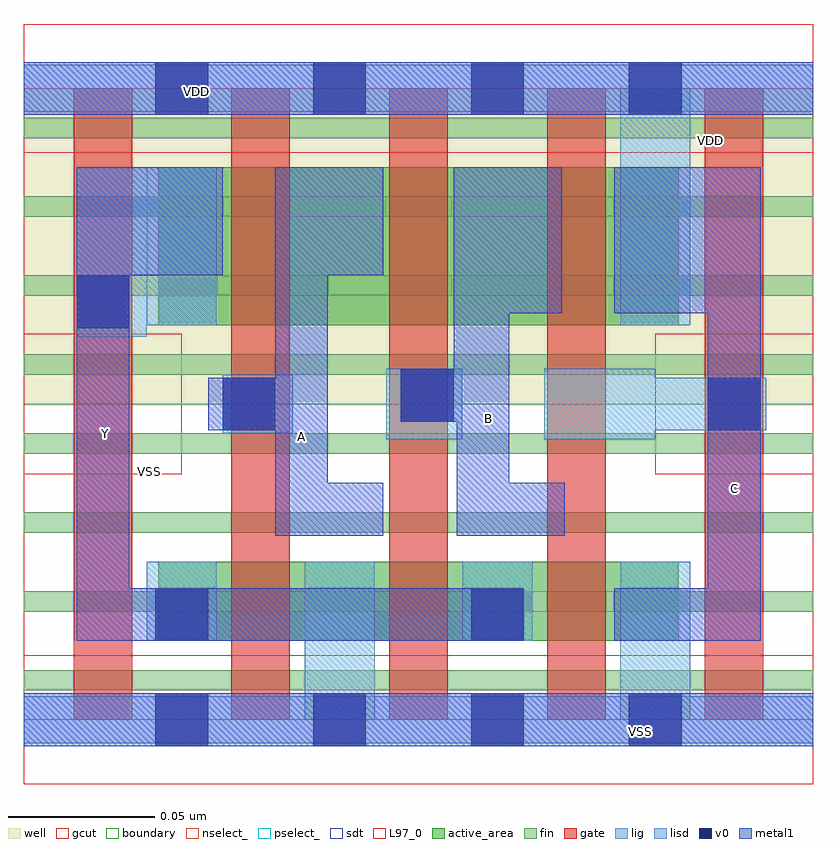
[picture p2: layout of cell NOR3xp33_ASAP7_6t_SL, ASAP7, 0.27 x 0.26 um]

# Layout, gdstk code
import gdstk
lib = gdstk.Library(unit=1e-6, precision=2.5e-10)
def R(c, l, rs):  # rectangles x0, y0, x1, y1
    for r in rs: c.add(gdstk.rectangle(r[:2], r[2:], *l))
def A(c, l, x, y, w, h, nx, ny, dx, dy):  # array of equal rectangles
    R(c, l, [(x+i*dx, y+j*dy, x+i*dx+w, y+j*dy+h) for i in range(nx) for j in range(ny)])
def P(c, l, *ps):  # polygons
    for p in ps: c.add(gdstk.Polygon(p, *l))
well = (1, 0)
fin = (2, 0)
gate = (7, 0)
gcut = (10, 0)
active_area = (11, 0)
nselect_ = (12, 0)
pselect_ = (13, 0)
lig = (16, 0)
lisd = (17, 0)
v0 = (18, 0)
metal1 = (19, 0)
sdt = (88, 0)
L97_0 = (97, 0)
boundary = (100, 0)

nor3xp33_asap7_6t_sl = lib.new_cell('NOR3xp33_ASAP7_6t_SL')
R(nor3xp33_asap7_6t_sl, well, [(0,0.108,0.27,0.216)])
A(nor3xp33_asap7_6t_sl, fin, 0, 0.01, 0.27, 0.007, 1, 8, 0, 0.027)
A(nor3xp33_asap7_6t_sl, gate, 0.017, 0, 0.02, 0.216, 5, 1, 0.054, 0)
R(nor3xp33_asap7_6t_sl, gcut, [(0,-0.022,0.27,0.022), (0,0.084,0.054,0.132), (0.216,0.084,0.27,0.132), (0,0.194,0.27,0.238)])
R(nor3xp33_asap7_6t_sl, active_area, [(0.046,0.027,0.224,0.054), (0.046,0.135,0.224,0.189)])
R(nor3xp33_asap7_6t_sl, nselect_, [(0,0,0.27,0.108)])
R(nor3xp33_asap7_6t_sl, pselect_, [(0,0.108,0.27,0.216)])
R(nor3xp33_asap7_6t_sl, lig, [(0,-0.008,0.27,0.008), (0.124,0.096,0.15,0.12), (0.068,0.098,0.092,0.118), (0,0.208,0.27,0.224)])
P(nor3xp33_asap7_6t_sl, lig, [(0.254,0.099),(0.216,0.099),(0.216,0.096),(0.178,0.096),(0.178,0.12),(0.216,0.12),(0.216,0.117),(0.254,0.117)])
R(nor3xp33_asap7_6t_sl, lisd, [(0.096,0,0.12,0.054), (0.204,0,0.228,0.054), (0.042,0.027,0.066,0.054), (0.15,0.027,0.174,0.054), (0.204,0.135,0.228,0.216)])
P(nor3xp33_asap7_6t_sl, lisd, [(0.066,0.189),(0.018,0.189),(0.018,0.131),(0.042,0.131),(0.042,0.135),(0.066,0.135)])
A(nor3xp33_asap7_6t_sl, v0, 0.045, -0.009, 0.018, 0.018, 4, 2, 0.054, 0.216)
R(nor3xp33_asap7_6t_sl, v0, [(0.045,0.027,0.063,0.045), (0.153,0.027,0.171,0.045), (0.068,0.099,0.086,0.117), (0.234,0.099,0.252,0.117), (0.129,0.102,0.147,0.12), (0.018,0.134,0.036,0.152)])
R(nor3xp33_asap7_6t_sl, metal1, [(0,-0.009,0.27,0.009), (0,0.207,0.27,0.225)])
P(nor3xp33_asap7_6t_sl, metal1, [(0.123,0.081),(0.104,0.081),(0.104,0.152),(0.123,0.152),(0.123,0.189),(0.086,0.189),(0.086,0.117),(0.063,0.117),(0.063,0.099),(0.086,0.099),(0.086,0.063),(0.123,0.063)],
  [(0.171,0.027),(0.018,0.027),(0.018,0.189),(0.068,0.189),(0.068,0.152),(0.036,0.152),(0.036,0.045),(0.171,0.045)],
  [(0.184,0.139),(0.166,0.139),(0.166,0.081),(0.185,0.081),(0.185,0.063),(0.148,0.063),(0.148,0.102),(0.129,0.102),(0.129,0.12),(0.147,0.12),(0.147,0.189),(0.184,0.189)],
  [(0.252,0.027),(0.202,0.027),(0.202,0.045),(0.234,0.045),(0.234,0.139),(0.202,0.139),(0.202,0.189),(0.252,0.189)])
A(nor3xp33_asap7_6t_sl, sdt, 0.042, 0.027, 0.024, 0.027, 4, 1, 0.054, 0)
R(nor3xp33_asap7_6t_sl, sdt, [(0.042,0.135,0.066,0.189), (0.204,0.135,0.228,0.189)])
R(nor3xp33_asap7_6t_sl, L97_0, [(0,0,0.27,0.216)])
R(nor3xp33_asap7_6t_sl, boundary, [(0,0,0.27,0.216)])
nor3xp33_asap7_6t_sl.add(gdstk.Label('VSS', (0.043,0.085), layer=3, texttype=251))
nor3xp33_asap7_6t_sl.add(gdstk.Label('VDD', (0.235,0.198), layer=1, texttype=251))
nor3xp33_asap7_6t_sl.add(gdstk.Label('C', (0.243,0.079), layer=19, texttype=251))
nor3xp33_asap7_6t_sl.add(gdstk.Label('VSS', (0.211,-0.004), layer=19, texttype=251))
nor3xp33_asap7_6t_sl.add(gdstk.Label('VDD', (0.059,0.215), layer=19, texttype=251))
nor3xp33_asap7_6t_sl.add(gdstk.Label('A', (0.095,0.097), layer=19, texttype=251))
nor3xp33_asap7_6t_sl.add(gdstk.Label('Y', (0.028,0.098), layer=19, texttype=251))
nor3xp33_asap7_6t_sl.add(gdstk.Label('B', (0.159,0.103), layer=19, texttype=251))

lib.write_gds('NOR3xp33_ASAP7_6t_SL.gds')
